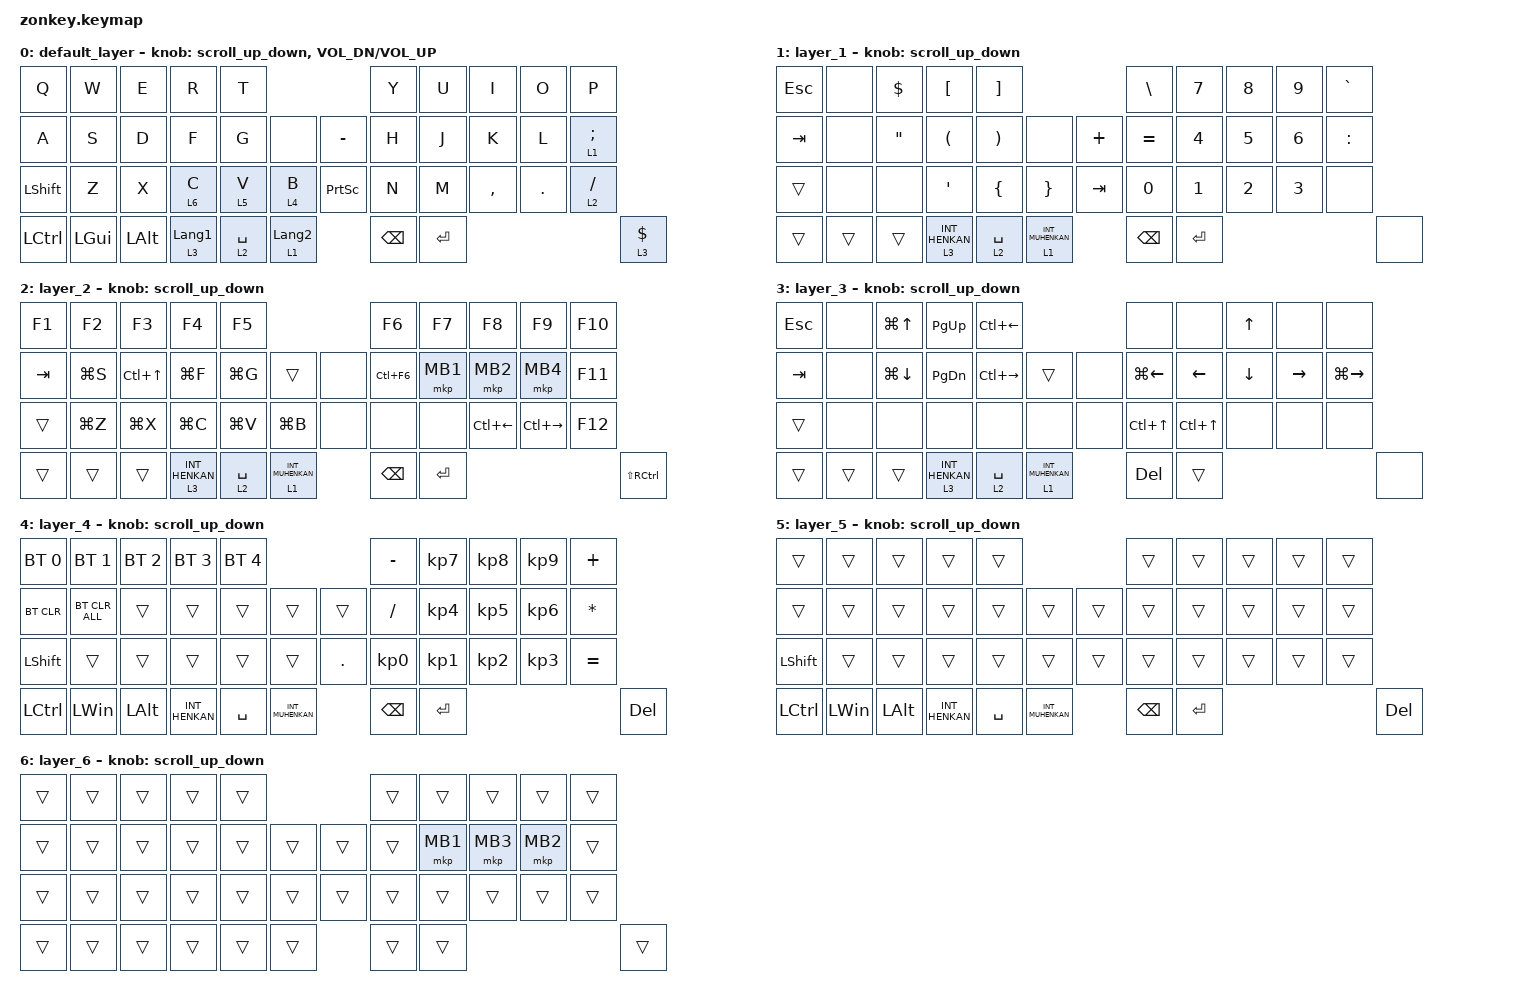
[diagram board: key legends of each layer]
#include <behaviors.dtsi>
#include <dt-bindings/zmk/bt.h>
#include <dt-bindings/zmk/keys.h>
#include <dt-bindings/zmk/pointing.h>

#define ZMK_POINTING_DEFAULT_SCRL_VAL 100
#define MOUSE 6
#define JP_DQUOTE       AT                // "
#define JP_AMPERSAND    CARET             // &
#define JP_QUOTE        AMPERSAND         // '
#define JP_EQUAL        UNDER             // =
#define JP_CARET        EQUAL             // ^
#define JP_YEN          0x89              // ¥
#define JP_PLUS         COLON             // +
#define JP_TILDE        PLUS              // ~
#define JP_PIPE         LS(0x89)          // |
#define JP_AT           LEFT_BRACKET      // @
#define JP_COLON        SINGLE_QUOTE      // :
#define JP_ASTERISK     DOUBLE_QUOTES     // *
#define JP_BACKQUOTE    LEFT_BRACE        // `
#define JP_UNDERSCORE   LS(0x87)          // _
#define JP_LBRACKET     RIGHT_BRACKET     // [
#define JP_RBRACKET     BACKSLASH         // ]
#define JP_LPAREN       ASTERISK          // (
#define JP_RPAREN       LEFT_PARENTHESIS  // )
#define JP_LBRACE       RIGHT_BRACE       // {
#define JP_RBRACE       PIPE              // }
#define JP_KANA         LANGUAGE_1        // かな
#define JP_EISU         LANGUAGE_2        // 英数
#define JP_HANZEN       GRAVE             // 半角/全角
#define JP_BSLH  INT1         // (backslash)

&mt {
    flavor = "balanced";
    quick-tap-ms = <0>;
};

/ {
    combos { compatible = "zmk,combos"; };

    mo2: mo2 {
        compatible = "zmk,behavior-mod-morph";
        #binding-cells = <0>;
        bindings = <&kp N2>, <&kp AT>;

        mods = <(MOD_LSFT|MOD_RSFT)>;
    };

    mo6: mo6 {
        compatible = "zmk,behavior-mod-morph";
        #binding-cells = <0>;
        bindings = <&kp N6>, <&kp CARET>;

        mods = <(MOD_LSFT|MOD_RSFT)>;
    };

    mo7: mo7 {
        compatible = "zmk,behavior-mod-morph";
        #binding-cells = <0>;
        bindings = <&kp N7>, <&kp AMPS>;

        mods = <(MOD_LSFT|MOD_RSFT)>;
    };

    mo8: mo8 {
        compatible = "zmk,behavior-mod-morph";
        #binding-cells = <0>;
        bindings = <&kp N8>, <&kp ASTRK>;

        mods = <(MOD_LSFT|MOD_RSFT)>;
    };

    mo9: mo9 {
        compatible = "zmk,behavior-mod-morph";
        #binding-cells = <0>;
        bindings = <&kp N9>, <&kp LPAR>;

        mods = <(MOD_LSFT|MOD_RSFT)>;
    };

    mo0: mo0 {
        compatible = "zmk,behavior-mod-morph";
        #binding-cells = <0>;
        bindings = <&kp N0>, <&kp LS(N9)>;

        mods = <(MOD_LSFT|MOD_RSFT)>;
    };

    moA: moA {
        compatible = "zmk,behavior-mod-morph";
        #binding-cells = <0>;
        bindings = <&kp MINUS>, <&kp UNDERSCORE>;

        mods = <(MOD_LSFT|MOD_RSFT)>;
    };

    moB: moB {
        compatible = "zmk,behavior-mod-morph";
        #binding-cells = <0>;
        bindings = <&kp EQUAL>, <&kp PLUS>;

        mods = <(MOD_LSFT|MOD_RSFT)>;
    };

    moC: moC {
        compatible = "zmk,behavior-mod-morph";
        #binding-cells = <0>;
        bindings = <&kp INT3>, <&kp JP_PIPE>;

        mods = <(MOD_LSFT|MOD_RSFT)>;
    };

    moD: moD {
        compatible = "zmk,behavior-mod-morph";
        #binding-cells = <0>;
        bindings = <&kp LBKT>, <&kp LBRC>;

        mods = <(MOD_LSFT|MOD_RSFT)>;
    };

    moE: moE {
        compatible = "zmk,behavior-mod-morph";
        #binding-cells = <0>;
        bindings = <&kp RBKT>, <&kp RBRC>;

        mods = <(MOD_LSFT|MOD_RSFT)>;
    };

    moF: moF {
        compatible = "zmk,behavior-mod-morph";
        #binding-cells = <0>;
        bindings = <&kp SEMI>, <&kp KP_PLUS>;

        mods = <(MOD_LSFT|MOD_RSFT)>;
    };

    moG: moG {
        compatible = "zmk,behavior-mod-morph";
        #binding-cells = <0>;
        bindings = <&kp APOSTROPHE>, <&kp DQT>;

        mods = <(MOD_LSFT|MOD_RSFT)>;
    };

    moH: moH {
        compatible = "zmk,behavior-mod-morph";
        #binding-cells = <0>;
        bindings = <&kp BACKSLASH>, <&kp TILDE2>;

        mods = <(MOD_LSFT|MOD_RSFT)>;
    };

    moI: moI {
        compatible = "zmk,behavior-mod-morph";
        #binding-cells = <0>;
        bindings = <&kp JP_BSLH>, <&kp JP_UNDERSCORE>;

        mods = <(MOD_LSFT|MOD_RSFT)>;
    };

    macros {
        to_layer_0: to_layer_0 {
            compatible = "zmk,behavior-macro-one-param";
            #binding-cells = <1>;
            bindings = <&to 0 &macro_param_1to1 &kp MACRO_PLACEHOLDER>;
            label = "TO_LAYER_0";
        };
    };

    behaviors {
        lt_to_layer_0: lt_to_layer_0 {
            compatible = "zmk,behavior-hold-tap";
            label = "LAYER_TAP_TO_0";
            bindings = <&mo>, <&to_layer_0>;

            #binding-cells = <2>;
            tapping-term-ms = <200>;
        };

        scroll_up_down: behavior_sensor_rotate_mouse_wheel_up_down {
            compatible = "zmk,behavior-sensor-rotate";
            #sensor-binding-cells = <0>;
            bindings = <&msc SCRL_DOWN>, <&msc SCRL_UP>;

            tap-ms = <20>;
        };
    };

    keymap {
        compatible = "zmk,keymap";

        default_layer {
            // -----------------------------------------------------------------------------------------
            // |  Q  |  W  |  E  |  R  |  T  |                        |  Y  |  U   |  I  |  O  |  P  | 
            // |  A  |  S  |  D  |  F  |  G  |LS(LG(S))|        　 | - |  H  |  J   |  K  |  L  |  `  | 
            // |SHIFT|  Z  |  X  |  C  |  V  |  B  |           | B |  N  |  M   |  ,  |  .  |  /  | 
            // | CTRL | WIN | ALT |HENKAN|SPACE|MUHENKAN|       | BS | ENT |      　　　　       | DEL |           

            bindings = <
&kp Q             &kp W         &kp E         &kp R             &kp T                                             &kp Y          &kp U      &kp I      &kp O    &kp P
&kp A             &kp S         &kp D         &kp F             &kp G        &none               &kp MINUS        &kp H          &kp J      &kp K      &kp L    &lt 1 SEMICOLON
&kp LEFT_SHIFT    &kp Z         &kp X         &lt 6 C           &lt 5 V      &lt 4 B             &kp PRINTSCREEN  &kp N          &kp M      &kp COMMA  &kp DOT  &lt 2 SLASH
&kp LEFT_CONTROL  &kp LEFT_GUI  &kp LEFT_ALT  &lt 3 LANGUAGE_1  &lt 2 SPACE  &lt 1 LANGUAGE_2                     &kp BACKSPACE  &kp ENTER                                       &lt 3 DOLLAR
            >;

            sensor-bindings =
                <&scroll_up_down>,
                <&inc_dec_kp C_VOL_DN C_VOL_UP>;
        };

        layer_1 {
            // -----------------------------------------------------------------------------------------
            // |CAPS　| 　　|     |     |                    　　　　　　 |     |     |  -  |  ^  |  ¥  |
            // | TAB |     |     |     |     |     |              |    |     |     |     |  @  |  [  |
            // |SHIFT|     |     |     |     |     |           　 | 英数 | かな |    |  ; |  :  |  ]  |
            // | CTRL| WIN | ALT |HENKAN|SPACE|MUHENKAN|         | BS | ENT |                   | DEL |

            bindings = <
&kp ESCAPE  &none   &kp DOLLAR         &kp LEFT_BRACKET      &kp RIGHT_BRACKET                                      &kp BACKSLASH  &kp N7        &kp N8        &kp N9        &kp GRAVE
&kp TAB     &none   &kp DOUBLE_QUOTES  &kp LEFT_PARENTHESIS  &kp RIGHT_PARENTHESIS  &none                 &kp PLUS  &kp EQUAL      &kp NUMBER_4  &kp N5        &kp NUMBER_6  &kp COLON
&trans      &none   &none              &kp SQT               &kp LEFT_BRACE         &kp RIGHT_BRACE       &kp TAB   &kp N0         &kp NUMBER_1  &kp NUMBER_2  &kp NUMBER_3  &none
&trans      &trans  &trans             &lt 3 INT_HENKAN      &lt 2 SPACE            &lt 1 INT_MUHENKAN              &kp BACKSPACE  &kp ENTER                                            &none
            >;

            sensor-bindings = <&scroll_up_down>;
        };

        layer_2 {
            // -----------------------------------------------------------------------------------------
            // |  1  |  2  |  3  |  4  |  5  |                     |  6  |  7  |  8  |  9  |   0  |
            // |      |     |     |     |     |     |           |    |     |     |     |  ↑  |      |
            // |SHIFT|     |     |     |     |     |           |     |     |     |  ←  |  ↓  |  →  |
            // | CTRL| WIN | ALT |HENKAN|SPACE|MUHENKAN|         | BS | ENT |                   | DEL |

            bindings = <
&kp F1   &kp F2     &kp F3            &kp F4            &kp F5                                    &kp F6         &kp F7     &kp F8              &kp F9               &kp F10
&kp TAB  &kp LG(S)  &kp LC(UP_ARROW)  &kp LG(F)         &kp LG(G)    &trans                &none  &kp LC(F6)     &mkp MB1   &mkp MB2            &mkp MB4             &kp F11
&trans   &kp LG(Z)  &kp LG(X)         &kp LG(C)         &kp LG(V)    &kp LG(B)             &none  &none          &none      &kp LC(LEFT_ARROW)  &kp LC(RIGHT_ARROW)  &kp F12
&trans   &trans     &trans            &lt 3 INT_HENKAN  &lt 2 SPACE  &lt 1 INT_MUHENKAN           &kp BACKSPACE  &kp ENTER                                                    &kp LS(RIGHT_CONTROL)
            >;

            sensor-bindings = <&scroll_up_down>;
        };

        layer_3 {
            // -----------------------------------------------------------------------------------------
            // | F1  | F2  | F3  | F4  | F5  |                     | F6  | F7 | F8  | F9 | F10 |
            // | F11 | F12 |     |     |     |     |           |    |     |     |     |     |      |
            // |SHIFT|     |     |     |     |     |           |     |     |     |     |     |      |
            // | CTRL| WIN | ALT |HENKAN|SPACE|MUHENKAN|         | BS | ENT |                   | DEL |

            bindings = <
&kp ESCAPE  &none   &kp LG(UP_ARROW)    &kp PAGE_UP       &kp LC(LEFT_ARROW)                                &none               &none             &kp UP_ARROW    &none            &none
&kp TAB     &none   &kp LG(DOWN_ARROW)  &kp PAGE_DOWN     &kp LC(RIGHT_ARROW)  &trans                &none  &kp LG(LEFT_ARROW)  &kp LEFT_ARROW    &kp DOWN_ARROW  &kp RIGHT_ARROW  &kp LG(RIGHT_ARROW)
&trans      &none   &none               &none             &none                &none                 &none  &kp LC(UP_ARROW)    &kp LC(UP_ARROW)  &none           &none            &none
&trans      &trans  &trans              &lt 3 INT_HENKAN  &lt 2 SPACE          &lt 1 INT_MUHENKAN           &kp DELETE          &trans                                                                  &none
            >;

            sensor-bindings = <&scroll_up_down>;
        };

        layer_4 {
            // -----------------------------------------------------------------------------------------
            // | BT0 | BT1 | BT2 | BT3 | BT4 |                        |  -  |  7  |  8  |  9  |  +  |
            // |BTCLR |     |     |     |     |     |                 |  /  |  4  |  5  |  6  |  *  | 
            // |SHIFT|     |     |     |     |     |           |  .  |  0  |  1  |  2  |   3  |  =  |
            // | CTRL| WIN | ALT |HENKAN|SPACE|MUHENKAN|        | BS | ENT |                  | DEL |

            bindings = <
&bt BT_SEL 0    &bt BT_SEL 1    &bt BT_SEL 2  &bt BT_SEL 3    &bt BT_SEL 4                               &kp MINUS        &kp KP_NUMBER_7  &kp KP_NUMBER_8  &kp KP_NUMBER_9  &kp PLUS
&bt BT_CLR      &bt BT_CLR_ALL  &trans        &trans          &trans        &trans              &trans   &kp SLASH        &kp KP_NUMBER_4  &kp KP_NUMBER_5  &kp KP_NUMBER_6  &kp ASTERISK
&kp LEFT_SHIFT  &trans          &trans        &trans          &trans        &trans              &kp DOT  &kp KP_NUMBER_0  &kp KP_NUMBER_1  &kp KP_NUMBER_2  &kp KP_NUMBER_3  &kp EQUAL
&kp LCTRL       &kp LEFT_WIN    &kp LEFT_ALT  &kp INT_HENKAN  &kp SPACE     &kp INT_MUHENKAN             &kp BACKSPACE    &kp ENTER                                                        &kp DEL
            >;

            sensor-bindings = <&scroll_up_down>;
        };

        layer_5 {
            // -----------------------------------------------------------------------------------------
            // |      |     |     |     |     |                     |     |     |     |     |      |
            // |      |     |     |     |     |     |           |    |     |     |     |     |      |
            // |SHIFT|     |     |     |     |     |          |     |     |     |     |     |      |
            // | CTRL| WIN | ALT |HENKAN|SPACE|MUHENKAN|        | BS | ENT |                  | DEL |

            bindings = <
&trans          &trans        &trans        &trans          &trans                                 &trans         &trans     &trans  &trans  &trans
&trans          &trans        &trans        &trans          &trans     &trans              &trans  &trans         &trans     &trans  &trans  &trans
&kp LEFT_SHIFT  &trans        &trans        &trans          &trans     &trans              &trans  &trans         &trans     &trans  &trans  &trans
&kp LCTRL       &kp LEFT_WIN  &kp LEFT_ALT  &kp INT_HENKAN  &kp SPACE  &kp INT_MUHENKAN            &kp BACKSPACE  &kp ENTER                          &kp DEL
            >;

            sensor-bindings = <&scroll_up_down>;
        };

        layer_6 {
            bindings = <
&trans  &trans  &trans  &trans  &trans                    &trans  &trans    &trans    &trans    &trans
&trans  &trans  &trans  &trans  &trans  &trans    &trans  &trans  &mkp MB1  &mkp MB3  &mkp MB2  &trans
&trans  &trans  &trans  &trans  &trans  &trans    &trans  &trans  &trans    &trans    &trans    &trans
&trans  &trans  &trans  &trans  &trans  &trans            &trans  &trans                                &trans
            >;

            sensor-bindings = <&scroll_up_down>;
        };
    };
};
